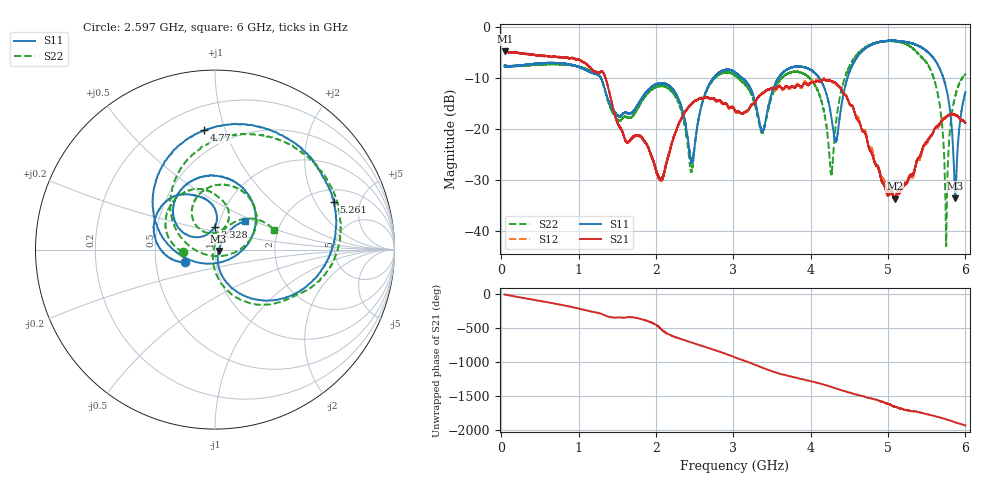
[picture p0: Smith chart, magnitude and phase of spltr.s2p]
!Agilent Technologies,E8364A,US41440144,A.06.04.32
!Agilent E8364A: A.06.04.32
!Date: Thursday, November 08, 2018 14:22:25
!Correction: S11(Full 2 Port(1,2)) S21(Full 2 Port(1,2)) S12(Full 2 Port(1,2)) S22(Full 2 Port(1,2))
!S2P File: Measurements: S11, S21, S12, S22:
# Hz S  dB  R 50
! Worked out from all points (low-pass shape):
!   16001 points, 45 MHz to 6 GHz, reference 50 ohm
!   highest |S21| = -4.72 dB at 49.09 MHz (marker M1); lowest = -33.7 dB at 5.087 GHz (marker M2)
!   |S21| within 3 dB of the highest: start of sweep to 1.14 GHz; 1.139678 GHz to 1.142009 GHz (2.33 MHz wide, 0.204 % of centre)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
!   lowest |S11| = -33.7 dB at 5.868 GHz (marker M3), VSWR 1.04, Z = 52 - j0.727 ohm
!   |S11| at or under -10 dB: 1.291 GHz to 2.741 GHz (1.45 GHz wide, 71.9 % of centre); 3.117 GHz to 3.58 GHz (462.8 MHz wide, 13.8 % of centre); 4.113 GHz to 4.474 GHz (361.2 MHz wide, 8.41 % of centre)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
!   |S22| runs from -43.1 to -2.6 dB; largest |S21 - S12| = 0.019
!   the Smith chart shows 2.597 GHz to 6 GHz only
!   S11 on the Smith chart (normalised r, x): 2.597 GHz: 0.71, -0.10; 3.328 GHz: 0.96, +0.25; 4.77 GHz: 0.35, +0.85; 5.261 GHz: 2.68, +2.87; 6 GHz: 1.31, +0.44
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4.5e7  -7.58 -11.7  -4.80 -9.5  -4.66 -9.7  -7.74 -13.0
4.909406e7  -7.65 -14.4  -4.72 -10.8  -4.78 -11.3  -7.67 -14.0
6.650644e8  -6.99 -162.8  -5.78 -136.1  -5.74 -136.6  -7.22 -169.6
1.037624e9  -8.00 92.2  -6.65 135.1  -6.64 135.4  -7.86 81.7
1.300016e9  -10.31 -59.7  -8.68 65.8  -8.66 65.8  -10.34 -66.8
1.526678e9  -17.51 -126.8  -19.51 14.6  -19.41 14.6  -18.32 -135.8
2.030248e9  -11.05 -179.2  -29.29 -116.7  -29.31 -119.3  -11.56 163.8
2.456031e9  -26.47 151.8  -15.08 9.3  -15.09 9.1  -28.37 139.0
2.596718e9  -14.91 -156.6  -13.88 -43.6  -13.89 -44.1  -15.06 -176.3
3.0225e9  -8.87 122.4  -16.31 148.1  -16.45 147.9  -9.47 99.1
3.328438e9  -17.83 91.0  -13.58 20.3  -13.53 20.2  -18.52 69.7
4.015124e9  -8.48 65.8  -10.74 156.6  -10.50 156.5  -10.48 39.8
4.267839e9  -17.59 -10.1  -10.59 76.4  -10.53 75.6  -28.77 -94.6
4.439046e9  -12.09 176.5  -13.28 14.9  -13.25 16.4  -10.08 140.9
4.76992e9  -3.48 95.2  -24.13 -88.5  -23.71 -84.9  -3.39 72.5
5.007748e9  -2.62 57.4  -32.81 -173.3  -32.47 -171.5  -2.67 35.6
5.087396e9  -2.63 45.5  -33.70 144.9  -33.81 144.3  -2.73 23.5
5.260836e9  -2.94 21.7  -29.99 91.9  -29.70 89.0  -3.48 -3.8
5.61032e9  -6.50 -34.6  -19.78 6.8  -19.73 6.6  -10.97 -67.1
5.750262e9  -11.86 -63.6  -17.59 -38.4  -17.81 -37.8  -42.31 -172.1
5.868246e9  -33.66 -19.7  -17.27 -83.2  -17.17 -83.2  -13.51 51.1
6e9  -12.76 43.8  -18.79 -128.9  -18.81 -129.0  -9.24 18.5
